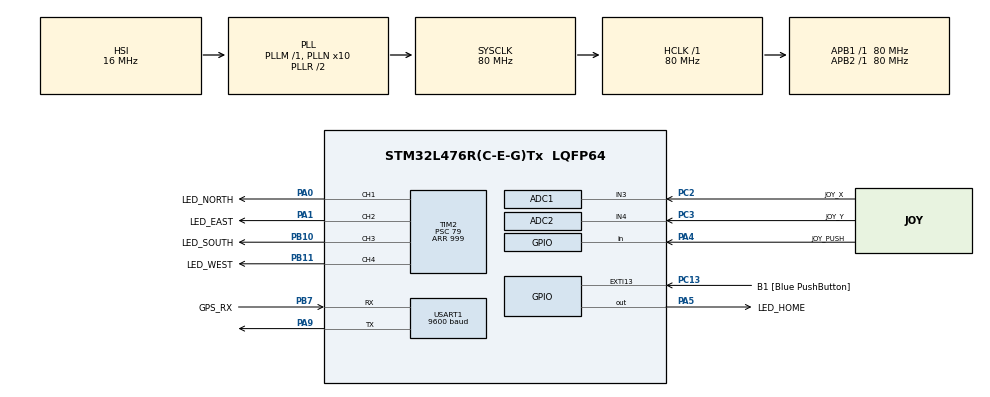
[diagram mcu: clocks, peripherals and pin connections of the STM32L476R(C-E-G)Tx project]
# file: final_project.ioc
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ADC1.Channel-0\#ChannelRegularConversion=ADC_CHANNEL_3
ADC1.ContinuousConvMode=DISABLE
ADC1.NbrOfConversionFlag=1
ADC1.OffsetNumber-0\#ChannelRegularConversion=ADC_OFFSET_NONE
ADC1.Rank-0\#ChannelRegularConversion=1
ADC1.SamplingTime-0\#ChannelRegularConversion=ADC_SAMPLETIME_2CYCLES_5
ADC1.master=1
ADC2.Channel-0\#ChannelRegularConversion=ADC_CHANNEL_4
ADC2.NbrOfConversionFlag=1
ADC2.OffsetNumber-0\#ChannelRegularConversion=ADC_OFFSET_NONE
ADC2.Rank-0\#ChannelRegularConversion=1
ADC2.SamplingTime-0\#ChannelRegularConversion=ADC_SAMPLETIME_2CYCLES_5
Mcu.Family=STM32L4
Mcu.Name=STM32L476R(C-E-G)Tx
Mcu.Package=LQFP64
NVIC.PriorityGroup=NVIC_PRIORITYGROUP_4
NVIC.USART1_IRQn=true\:0\:0\:false\:false\:true\:true\:true\:true
PA0.GPIO_Label=LED_NORTH
PA0.Signal=S_TIM2_CH1
PA1.GPIO_Label=LED_EAST
PA1.Signal=S_TIM2_CH2
PA13\ (JTMS-SWDIO).GPIO_Label=TMS
PA13\ (JTMS-SWDIO).Mode=Serial_Wire
PA13\ (JTMS-SWDIO).Signal=SYS_JTMS-SWDIO
PA14\ (JTCK-SWCLK).GPIO_Label=TCK
PA14\ (JTCK-SWCLK).Mode=Serial_Wire
PA14\ (JTCK-SWCLK).Signal=SYS_JTCK-SWCLK
PA4.GPIO_Label=JOY_PUSH
PA4.GPIO_PuPd=GPIO_PULLUP
PA4.Signal=GPIO_Input
PA5.GPIO_Label=LED_HOME
PA5.GPIO_ModeDefaultOutputPP=GPIO_MODE_OUTPUT_PP
PA5.GPIO_PuPd=GPIO_NOPULL
PA5.GPIO_Speed=GPIO_SPEED_FREQ_LOW
PA5.Signal=GPIO_Output
PA9.Mode=Asynchronous
PA9.Signal=USART1_TX
PB10.GPIO_Label=LED_SOUTH
PB10.Signal=S_TIM2_CH3
PB11.GPIO_Label=LED_WEST
PB11.Signal=S_TIM2_CH4
PB3\ (JTDO-TRACESWO).GPIO_Label=SWO
PB3\ (JTDO-TRACESWO).Signal=SYS_JTDO-SWO
PB7.GPIO_Label=GPS_RX
PB7.Mode=Asynchronous
PB7.Signal=USART1_RX
PC13.GPIO_Label=B1 [Blue PushButton]
PC13.GPIO_ModeDefaultEXTI=GPIO_MODE_IT_FALLING
PC13.GPIO_PuPd=GPIO_NOPULL
PC13.Signal=GPXTI13
PC14-OSC32_IN\ (PC14).Mode=LSE-External-Oscillator
PC14-OSC32_IN\ (PC14).Signal=RCC_OSC32_IN
PC15-OSC32_OUT\ (PC15).Mode=LSE-External-Oscillator
PC15-OSC32_OUT\ (PC15).Signal=RCC_OSC32_OUT
PC2.GPIO_Label=JOY_X
PC2.Signal=ADCx_IN3
PC3.GPIO_Label=JOY_Y
PC3.Signal=ADCx_IN4
PH0-OSC_IN\ (PH0).Signal=RCC_OSC_IN
PH1-OSC_OUT\ (PH1).Signal=RCC_OSC_OUT
ProjectManager.HeapSize=0x200
ProjectManager.StackSize=0x400
ProjectManager.TargetToolchain=STM32CubeIDE
RCC.ADCFreq_Value=64000000
RCC.AHBFreq_Value=80000000
RCC.APB1Freq_Value=80000000
RCC.APB1TimFreq_Value=80000000
RCC.APB2Freq_Value=80000000
RCC.APB2TimFreq_Value=80000000
RCC.CortexFreq_Value=80000000
RCC.HCLKFreq_Value=80000000
RCC.HSE_VALUE=8000000
RCC.HSI_VALUE=16000000
RCC.MSI_VALUE=4000000
RCC.PLLN=10
RCC.PLLSourceVirtual=RCC_PLLSOURCE_HSI
RCC.PREFETCH_ENABLE=1
RCC.SYSCLKFreq_VALUE=80000000
RCC.SYSCLKSource=RCC_SYSCLKSOURCE_PLLCLK
RCC.USBFreq_Value=64000000
RCC.VCOOutputFreq_Value=160000000
SH.ADCx_IN3.0=ADC1_IN3,IN3-Single-Ended
SH.ADCx_IN4.0=ADC2_IN4,IN4-Single-Ended
SH.S_TIM2_CH1.0=TIM2_CH1,PWM Generation1 CH1
SH.S_TIM2_CH2.0=TIM2_CH2,PWM Generation2 CH2
SH.S_TIM2_CH3.0=TIM2_CH3,PWM Generation3 CH3
SH.S_TIM2_CH4.0=TIM2_CH4,PWM Generation4 CH4
TIM2.AutoReloadPreload=TIM_AUTORELOAD_PRELOAD_DISABLE
TIM2.Channel-PWM\ Generation1\ CH1=TIM_CHANNEL_1
TIM2.Channel-PWM\ Generation2\ CH2=TIM_CHANNEL_2
TIM2.Channel-PWM\ Generation3\ CH3=TIM_CHANNEL_3
TIM2.Channel-PWM\ Generation4\ CH4=TIM_CHANNEL_4
TIM2.Period=999
TIM2.Prescaler=79
USART1.BaudRate=9600
USART1.VirtualMode-Asynchronous=VM_ASYNC
VP_TIM2_VS_ClockSourceINT.Mode=Internal
board=NUCLEO-L476RG

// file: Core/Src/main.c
/* USER CODE BEGIN Header */
/**
  ******************************************************************************
  * @file           : main.c
  * @brief          : Main program body
  ******************************************************************************
  * @attention
  *
  * Copyright (c) 2026 STMicroelectronics.
  * All rights reserved.
  *
  * This software is licensed under terms that can be found in the LICENSE file
  * in the root directory of this software component.
  * If no LICENSE file comes with this software, it is provided AS-IS.
  *
  ******************************************************************************
  */
/* USER CODE END Header */
#include "main.h"
#include <math.h>
#include <stdlib.h>
#include <string.h>

/* USER CODE BEGIN PM */
#define MAX_MESSAGE_SIZE 200 // max size for gpsMessage
/* USER CODE END PM */

ADC_HandleTypeDef hadc1;
ADC_HandleTypeDef hadc2;
TIM_HandleTypeDef htim2;
UART_HandleTypeDef huart1;

/* USER CODE BEGIN PV */
double homeX    = 0.0; // variables for grid system and position tracking
double homeY    = 0.0;
double posXLim = 0.0;
double negXLim = 0.0;
double posYLim = 0.0;
double negYLim = 0.0;
double currX    = 0.0;
double currY    = 0.0;
double rawLat = 0.0;
double rawLon = 0.0;
double finalLat = 0.0;
double finalLon = 0.0;

uint8_t gpsByte; // byte from GPS
uint8_t gpsMessage[MAX_MESSAGE_SIZE] = {0}; // array we will put the gpsBytes into and parse information from
uint8_t gpsBufferPosition = 0;
char gpsX[16] = {0}; // we will parse the latitude and longitude values from gpsMessage and place them into here for further analysis
char gpsY[16] = {0}; // after getting these values, we will convert them to doubles and use them in getGPSX and getGPSY

/* USER CODE END PV */

void SystemClock_Config(void);
void PeriphCommonClock_Config(void);
static void MX_GPIO_Init(void);
static void MX_ADC1_Init(void);
static void MX_TIM2_Init(void);
static void MX_ADC2_Init(void);
static void MX_USART1_UART_Init(void);
/* USER CODE BEGIN PFP */
double GetGPSX(void); // declare our functions
double GetGPSY(void);
void MakeMap(void);
void SetHome(void);
void MoveCharacter(void);
void BlinkLEDs(void);
double NMEAToDecimal(double coordinate);
/* USER CODE END PFP */

int main(void)
{
  HAL_Init();

  SystemClock_Config();
  PeriphCommonClock_Config();
  MX_GPIO_Init();
  MX_ADC1_Init(); // start ADC's
  MX_ADC2_Init();
  MX_TIM2_Init(); // start timer 2
  MX_USART1_UART_Init(); // start USART1
  /* USER CODE BEGIN 2 */
  HAL_TIM_PWM_Start(&htim2, TIM_CHANNEL_1); // timer channels for LEDs
  HAL_TIM_PWM_Start(&htim2, TIM_CHANNEL_2);
  HAL_TIM_PWM_Start(&htim2, TIM_CHANNEL_3);
  HAL_TIM_PWM_Start(&htim2, TIM_CHANNEL_4);
  HAL_TIM_Base_Start_IT(&htim2); // start timer 16
  HAL_UART_Receive_IT(&huart1, &gpsByte, 1); // put byte received from USART2 into "gpsByte"

  /* USER CODE END 2 */

  while (1)
  {
    /* USER CODE BEGIN WHILE */
    if (HAL_GPIO_ReadPin(JOY_PUSH_GPIO_Port, JOY_PUSH_Pin) == 0){ // if joy stick button is pushed, will set new home position
    	SetHome();
    	HAL_Delay(10); // delay so you don't set home multiple times on one push
    }
    MoveCharacter(); // first you move, then the system will tell you your location after your movement
    BlinkLEDs();

    /* USER CODE END WHILE */

  }
}
void SystemClock_Config(void)
{
  RCC_OscInitTypeDef RCC_OscInitStruct = {0};
  RCC_ClkInitTypeDef RCC_ClkInitStruct = {0};

  /** Configure the main internal regulator output voltage
  */
  if (HAL_PWREx_ControlVoltageScaling(PWR_REGULATOR_VOLTAGE_SCALE1) != HAL_OK)
  {
    Error_Handler();
  }

  /** Initializes the RCC Oscillators according to the specified parameters
  * in the RCC_OscInitTypeDef structure.
  */
  RCC_OscInitStruct.OscillatorType = RCC_OSCILLATORTYPE_HSI;
  RCC_OscInitStruct.HSIState = RCC_HSI_ON;
  RCC_OscInitStruct.HSICalibrationValue = RCC_HSICALIBRATION_DEFAULT;
  RCC_OscInitStruct.PLL.PLLState = RCC_PLL_ON;
  RCC_OscInitStruct.PLL.PLLSource = RCC_PLLSOURCE_HSI;
  RCC_OscInitStruct.PLL.PLLM = 1;
  RCC_OscInitStruct.PLL.PLLN = 10;
  RCC_OscInitStruct.PLL.PLLP = RCC_PLLP_DIV7;
  RCC_OscInitStruct.PLL.PLLQ = RCC_PLLQ_DIV2;
  RCC_OscInitStruct.PLL.PLLR = RCC_PLLR_DIV2;
  if (HAL_RCC_OscConfig(&RCC_OscInitStruct) != HAL_OK)
  {
    Error_Handler();
  }

  /** Initializes the CPU, AHB and APB buses clocks
  */
  RCC_ClkInitStruct.ClockType = RCC_CLOCKTYPE_HCLK|RCC_CLOCKTYPE_SYSCLK
                              |RCC_CLOCKTYPE_PCLK1|RCC_CLOCKTYPE_PCLK2;
  RCC_ClkInitStruct.SYSCLKSource = RCC_SYSCLKSOURCE_PLLCLK;
  RCC_ClkInitStruct.AHBCLKDivider = RCC_SYSCLK_DIV1;
  RCC_ClkInitStruct.APB1CLKDivider = RCC_HCLK_DIV1;
  RCC_ClkInitStruct.APB2CLKDivider = RCC_HCLK_DIV1;

  if (HAL_RCC_ClockConfig(&RCC_ClkInitStruct, FLASH_LATENCY_4) != HAL_OK)
  {
    Error_Handler();
  }
}

void PeriphCommonClock_Config(void)
{
  RCC_PeriphCLKInitTypeDef PeriphClkInit = {0};

  /** Initializes the peripherals clock
  */
  PeriphClkInit.PeriphClockSelection = RCC_PERIPHCLK_ADC;
  PeriphClkInit.AdcClockSelection = RCC_ADCCLKSOURCE_PLLSAI1;
  PeriphClkInit.PLLSAI1.PLLSAI1Source = RCC_PLLSOURCE_HSI;
  PeriphClkInit.PLLSAI1.PLLSAI1M = 1;
  PeriphClkInit.PLLSAI1.PLLSAI1N = 8;
  PeriphClkInit.PLLSAI1.PLLSAI1P = RCC_PLLP_DIV7;
  PeriphClkInit.PLLSAI1.PLLSAI1Q = RCC_PLLQ_DIV2;
  PeriphClkInit.PLLSAI1.PLLSAI1R = RCC_PLLR_DIV2;
  PeriphClkInit.PLLSAI1.PLLSAI1ClockOut = RCC_PLLSAI1_ADC1CLK;
  if (HAL_RCCEx_PeriphCLKConfig(&PeriphClkInit) != HAL_OK)
  {
    Error_Handler();
  }
}

static void MX_ADC1_Init(void)
{

  ADC_MultiModeTypeDef multimode = {0};
  ADC_ChannelConfTypeDef sConfig = {0};

  /** Common config
  */
  hadc1.Instance = ADC1;
  hadc1.Init.ClockPrescaler = ADC_CLOCK_ASYNC_DIV1;
  hadc1.Init.Resolution = ADC_RESOLUTION_12B;
  hadc1.Init.DataAlign = ADC_DATAALIGN_RIGHT;
  hadc1.Init.ScanConvMode = ADC_SCAN_DISABLE;
  hadc1.Init.EOCSelection = ADC_EOC_SINGLE_CONV;
  hadc1.Init.LowPowerAutoWait = DISABLE;
  hadc1.Init.ContinuousConvMode = DISABLE;
  hadc1.Init.NbrOfConversion = 1;
  hadc1.Init.DiscontinuousConvMode = DISABLE;
  hadc1.Init.ExternalTrigConv = ADC_SOFTWARE_START;
  hadc1.Init.ExternalTrigConvEdge = ADC_EXTERNALTRIGCONVEDGE_NONE;
  hadc1.Init.DMAContinuousRequests = DISABLE;
  hadc1.Init.Overrun = ADC_OVR_DATA_PRESERVED;
  hadc1.Init.OversamplingMode = DISABLE;
  if (HAL_ADC_Init(&hadc1) != HAL_OK)
  {
    Error_Handler();
  }

  /** Configure the ADC multi-mode
  */
  multimode.Mode = ADC_MODE_INDEPENDENT;
  if (HAL_ADCEx_MultiModeConfigChannel(&hadc1, &multimode) != HAL_OK)
  {
    Error_Handler();
  }

  /** Configure Regular Channel
  */
  sConfig.Channel = ADC_CHANNEL_3;
  sConfig.Rank = ADC_REGULAR_RANK_1;
  sConfig.SamplingTime = ADC_SAMPLETIME_2CYCLES_5;
  sConfig.SingleDiff = ADC_SINGLE_ENDED;
  sConfig.OffsetNumber = ADC_OFFSET_NONE;
  sConfig.Offset = 0;
  if (HAL_ADC_ConfigChannel(&hadc1, &sConfig) != HAL_OK)
  {
    Error_Handler();
  }

}

static void MX_ADC2_Init(void)
{

  ADC_ChannelConfTypeDef sConfig = {0};

  /** Common config
  */
  hadc2.Instance = ADC2;
  hadc2.Init.ClockPrescaler = ADC_CLOCK_ASYNC_DIV1;
  hadc2.Init.Resolution = ADC_RESOLUTION_12B;
  hadc2.Init.DataAlign = ADC_DATAALIGN_RIGHT;
  hadc2.Init.ScanConvMode = ADC_SCAN_DISABLE;
  hadc2.Init.EOCSelection = ADC_EOC_SINGLE_CONV;
  hadc2.Init.LowPowerAutoWait = DISABLE;
  hadc2.Init.ContinuousConvMode = DISABLE;
  hadc2.Init.NbrOfConversion = 1;
  hadc2.Init.DiscontinuousConvMode = DISABLE;
  hadc2.Init.ExternalTrigConv = ADC_SOFTWARE_START;
  hadc2.Init.ExternalTrigConvEdge = ADC_EXTERNALTRIGCONVEDGE_NONE;
  hadc2.Init.DMAContinuousRequests = DISABLE;
  hadc2.Init.Overrun = ADC_OVR_DATA_PRESERVED;
  hadc2.Init.OversamplingMode = DISABLE;
  if (HAL_ADC_Init(&hadc2) != HAL_OK)
  {
    Error_Handler();
  }

  /** Configure Regular Channel
  */
  sConfig.Channel = ADC_CHANNEL_4;
  sConfig.Rank = ADC_REGULAR_RANK_1;
  sConfig.SamplingTime = ADC_SAMPLETIME_2CYCLES_5;
  sConfig.SingleDiff = ADC_SINGLE_ENDED;
  sConfig.OffsetNumber = ADC_OFFSET_NONE;
  sConfig.Offset = 0;
  if (HAL_ADC_ConfigChannel(&hadc2, &sConfig) != HAL_OK)
  {
    Error_Handler();
  }

}

static void MX_TIM2_Init(void)
{

  TIM_ClockConfigTypeDef sClockSourceConfig = {0};
  TIM_MasterConfigTypeDef sMasterConfig = {0};
  TIM_OC_InitTypeDef sConfigOC = {0};

  htim2.Instance = TIM2;
  htim2.Init.Prescaler = 79;
  htim2.Init.CounterMode = TIM_COUNTERMODE_UP;
  htim2.Init.Period = 999;
  htim2.Init.ClockDivision = TIM_CLOCKDIVISION_DIV1;
  htim2.Init.AutoReloadPreload = TIM_AUTORELOAD_PRELOAD_DISABLE;
  if (HAL_TIM_Base_Init(&htim2) != HAL_OK)
  {
    Error_Handler();
  }
  sClockSourceConfig.ClockSource = TIM_CLOCKSOURCE_INTERNAL;
  if (HAL_TIM_ConfigClockSource(&htim2, &sClockSourceConfig) != HAL_OK)
  {
    Error_Handler();
  }
  if (HAL_TIM_PWM_Init(&htim2) != HAL_OK)
  {
    Error_Handler();
  }
  sMasterConfig.MasterOutputTrigger = TIM_TRGO_RESET;
  sMasterConfig.MasterSlaveMode = TIM_MASTERSLAVEMODE_DISABLE;
  if (HAL_TIMEx_MasterConfigSynchronization(&htim2, &sMasterConfig) != HAL_OK)
  {
    Error_Handler();
  }
  sConfigOC.OCMode = TIM_OCMODE_PWM1;
  sConfigOC.Pulse = 0;
  sConfigOC.OCPolarity = TIM_OCPOLARITY_HIGH;
  sConfigOC.OCFastMode = TIM_OCFAST_DISABLE;
  if (HAL_TIM_PWM_ConfigChannel(&htim2, &sConfigOC, TIM_CHANNEL_1) != HAL_OK)
  {
    Error_Handler();
  }
  if (HAL_TIM_PWM_ConfigChannel(&htim2, &sConfigOC, TIM_CHANNEL_2) != HAL_OK)
  {
    Error_Handler();
  }
  if (HAL_TIM_PWM_ConfigChannel(&htim2, &sConfigOC, TIM_CHANNEL_3) != HAL_OK)
  {
    Error_Handler();
  }
  if (HAL_TIM_PWM_ConfigChannel(&htim2, &sConfigOC, TIM_CHANNEL_4) != HAL_OK)
  {
    Error_Handler();
  }
  HAL_TIM_MspPostInit(&htim2);

}

static void MX_USART1_UART_Init(void)
{

  huart1.Instance = USART1;
  huart1.Init.BaudRate = 9600;
  huart1.Init.WordLength = UART_WORDLENGTH_8B;
  huart1.Init.StopBits = UART_STOPBITS_1;
  huart1.Init.Parity = UART_PARITY_NONE;
  huart1.Init.Mode = UART_MODE_TX_RX;
  huart1.Init.HwFlowCtl = UART_HWCONTROL_NONE;
  huart1.Init.OverSampling = UART_OVERSAMPLING_16;
  huart1.Init.OneBitSampling = UART_ONE_BIT_SAMPLE_DISABLE;
  huart1.AdvancedInit.AdvFeatureInit = UART_ADVFEATURE_NO_INIT;
  if (HAL_UART_Init(&huart1) != HAL_OK)
  {
    Error_Handler();
  }

}

static void MX_GPIO_Init(void)
{
  GPIO_InitTypeDef GPIO_InitStruct = {0};

  /* GPIO Ports Clock Enable */
  __HAL_RCC_GPIOC_CLK_ENABLE();
  __HAL_RCC_GPIOH_CLK_ENABLE();
  __HAL_RCC_GPIOA_CLK_ENABLE();
  __HAL_RCC_GPIOB_CLK_ENABLE();

  /*Configure GPIO pin Output Level */
  HAL_GPIO_WritePin(LED_HOME_GPIO_Port, LED_HOME_Pin, GPIO_PIN_RESET);

  /*Configure GPIO pin : B1_Pin */
  GPIO_InitStruct.Pin = B1_Pin;
  GPIO_InitStruct.Mode = GPIO_MODE_IT_FALLING;
  GPIO_InitStruct.Pull = GPIO_NOPULL;
  HAL_GPIO_Init(B1_GPIO_Port, &GPIO_InitStruct);

  /*Configure GPIO pin : JOY_PUSH_Pin */
  GPIO_InitStruct.Pin = JOY_PUSH_Pin;
  GPIO_InitStruct.Mode = GPIO_MODE_INPUT;
  GPIO_InitStruct.Pull = GPIO_PULLUP;
  HAL_GPIO_Init(JOY_PUSH_GPIO_Port, &GPIO_InitStruct);

  /*Configure GPIO pin : LED_HOME_Pin */
  GPIO_InitStruct.Pin = LED_HOME_Pin;
  GPIO_InitStruct.Mode = GPIO_MODE_OUTPUT_PP;
  GPIO_InitStruct.Pull = GPIO_NOPULL;
  GPIO_InitStruct.Speed = GPIO_SPEED_FREQ_LOW;
  HAL_GPIO_Init(LED_HOME_GPIO_Port, &GPIO_InitStruct);

}

/* USER CODE BEGIN 4 */

// This function runs automatically every time one byte is received through UART1
void HAL_UART_RxCpltCallback(UART_HandleTypeDef *huart)
{
    if (huart == &huart1) // if the interrupt came through UART1, continue
    {
        gpsMessage[gpsBufferPosition] = gpsByte;   // add to gpsMessage arrray
        gpsBufferPosition++;					   // increment buffer position to prepare for next byte
        HAL_UART_Receive_IT(&huart1, &gpsByte, 1); // restart the interrupt reception so the next byte can be received
    }
}

double GetGPSX(void){
	int commaCount = 0;           // Parse data from string received from GPS based on commas to find latitude and longitude
	int buffer = 0;     // use this buffer to keep track the position of what we're reading from gpsMessage
	gpsX[0] = '\0'; // clear array from previous usage

	// we will go through the whole gpsMessage until we find 2 commas (which is when latitude begins) and a 'N' or 'S' character
	for (int i = 0; i < gpsBufferPosition; i++){
		char currentChar = gpsMessage[i];

		if (currentChar == 'N' || currentChar == 'S'){ // latitude message is finished, return results
			gpsX[buffer] = currentChar;// finish the message
			buffer++;
			gpsX[buffer] = '\0'; // end message
			rawLat = strtod(gpsX, NULL); // convert string to number
			finalLat = NMEAToDecimal(rawLat); // convert NMEA degrees/minutes format to decimal degrees

			if (gpsX[buffer - 1] == 'S') // southern latitudes changes to negative
				{
					finalLat = -finalLat;
				}
			return finalLat;
		}
		if (commaCount == 2){ // after 2 commas, latitude begins
			gpsX[buffer] = currentChar;
			buffer++;
		}

		if (currentChar == ','){ // increment commaCount if comma is found
			commaCount++;
		}
	}
	return 1.0; // return a basic number if gpsMessage is not filled with proper data. This is here because the module broke
}
//
// see GetGPSX for more detailed comments on this function. The same rules apply. The only difference is this is longitude and looks for 4 commans, not 2
//      VVVVV VVVVV VVVVV VVVVV
double GetGPSY(void){
	int commaCount = 0;           // Parse data from string received from GPS based on commas to find latitude and longitude
	int buffer = 0;
	gpsY[0] = '\0'; // clear array
	for (int i = 0; i < gpsBufferPosition; i++){
		char currentChar = gpsMessage[i];
		if (currentChar == 'W' || currentChar == 'E'){ // longitude message is finished, return results
			gpsY[buffer] = currentChar;
			buffer++;
			gpsY[buffer] = '\0';// finish the message
			rawLon = strtod(gpsY, NULL);
			finalLon = NMEAToDecimal(rawLon);
			if (gpsY[buffer - 1] == 'W')
			{
			    finalLon = -finalLon;
			}
			return finalLon;
		}
		if (commaCount == 4){ // after 4 commas, longitude begins
			gpsY[buffer] = currentChar;
			buffer++;
		}

		if (currentChar == ','){ // increment commaCount if comma is found
			commaCount++;
		}
	}
	return 2.0;// return a basic number if gpsMessage is not filled with proper data. This is here because the module broke
}

// Convert NMEA format to decimal degrees. Example: 4325.5000 becomes 43.425 degrees
double NMEAToDecimal(double coordinate)
{
    int degrees = (int)(coordinate / 100.0); // Make first 2 digits the degrees
    double minutes = coordinate - (degrees * 100.0); // make the minutes the remaining decimal portion
    return degrees + (minutes / 60.0); // convert minutes to degrees and combine them
}

// make map boundaries for character to move in. 100 is just an arbitrary value that works well with the speed of our characters movement
void MakeMap(void){
	posXLim = homeX + 100;
	negXLim = homeX - 100;
	posYLim = homeY + 100;
	negYLim = homeY - 100;
}

// set your waypoint of which you will be shown where to return to
void SetHome(void){
	homeX = GetGPSX(); // get home coords
	homeY = GetGPSY();
	currX = homeX;     // set characters starting point at home
	currY = homeY;
	MakeMap();
	// reset buffer position and arrays after gpsMessage is compiled and read
	gpsBufferPosition = 0;
	memset(gpsX, 0, sizeof(gpsX));
	memset(gpsY, 0, sizeof(gpsY));
	memset(gpsMessage, 0, sizeof(gpsMessage));
}

void MoveCharacter(void)
{
    const double ySTEP_SIZE = 0.001; // maximum amount the character can move in one function call
    const double xSTEP_SIZE = 0.001;
    const double CENTER = 1700;      // defined center ADC value of joystick x and y. used to avoid deadzone

    HAL_ADC_Start(&hadc1);           // read the joystick's x-axis voltage using ADC1
    HAL_ADC_PollForConversion(&hadc1, HAL_MAX_DELAY);
    uint16_t xjoyStep = HAL_ADC_GetValue(&hadc1);

    HAL_ADC_Start(&hadc2);           // read the joystick's y-axis voltage using ADC2
    HAL_ADC_PollForConversion(&hadc2, HAL_MAX_DELAY);
    uint16_t yjoyStep = HAL_ADC_GetValue(&hadc2);

    float xMovePercent = 0; // used to find percentage of maximum movement in each direction
    float yMovePercent = 0;

// THE FOLLOWING COMMENTS ARE VALID WHEN THE JOYSTICK WIRES ARE TO THE LEFT

    if (xjoyStep < 1500 || xjoyStep > 1900){ // only move horizontally when joystick is out of deadzone
    	if (xjoyStep < 1500){
    		xMovePercent = -(CENTER - xjoyStep)/1700;// MOVE WEST
    	}
    	if (xjoyStep > 1900){
    		xMovePercent = (xjoyStep - CENTER)/1700;// MOVE EAST
		}
    }

    if (yjoyStep < 1500 || yjoyStep > 2000){ // only move vertically when joystick is out of deadzone
		if (yjoyStep > 2000){
			yMovePercent = (CENTER - yjoyStep)/1700;// MOVE SOUTH
		}
		if (yjoyStep < 1500){
			yMovePercent = -(yjoyStep - CENTER)/1700; // MOVE NORTH
		}
	}
    // calculate the next new character position
    float nextX = currX + (xMovePercent * xSTEP_SIZE);
    float nextY = currY + (yMovePercent * ySTEP_SIZE);
    // check if the next position is out of bounds or not. If not out of bounds, will update current position to new position.
    if (nextX < posXLim && nextX > negXLim)
    {
    	currX = nextX;
    }

    if (nextY < posYLim && nextY > negYLim)
	{
		currY = nextY;
	}
    //HAL_Delay(20);
}

void BlinkLEDs(void)
{
	// TIM2 counts to 1000 so 999 is about 100% of duty cycle
    const int PWM_PERIOD = 999;
    // turn off all compass LEDs before finding new brightness levels
    TIM2->CCR1 = 0;
    TIM2->CCR2 = 0;
    TIM2->CCR3 = 0;
    TIM2->CCR4 = 0;

    // If character is home, turn on on-board LED
    if ((currY > homeY - 5) && (currY < homeY + 5) &&
        (currX > homeX - 5) && (currX < homeX + 5))
    {
        HAL_GPIO_WritePin(GPIOA, GPIO_PIN_5, GPIO_PIN_SET);
        return;
    }
    // if not home, turn off on-board LED
    HAL_GPIO_WritePin(GPIOA, GPIO_PIN_5, GPIO_PIN_RESET);

    // find distance from home
    double xError = currX - homeX;
    double yError = currY - homeY;

    // convert distance into a duty cycle of 1 and 0
    float dutyCycleX = fabs(xError) / 100.0f;
    float dutyCycleY = fabs(yError) / 100.0f;

    // limit them to a maximum of 1
    if (dutyCycleX > 1.0f) dutyCycleX = 1.0f;
    if (dutyCycleY > 1.0f) dutyCycleY = 1.0f;

    // find the brightness levels of the horizontal and vertical LEDs
    int resetValueX = (int)(dutyCycleX * PWM_PERIOD);
    int resetValueY = (int)(dutyCycleY * PWM_PERIOD);

    // if character is not within 5 units of home, turn on LEDs to the brightness level just found based on direction
    if (currY > homeY + 5)
    {
        TIM2->CCR3 = resetValueY; // SOUTH
    }
    if (currY < homeY - 5)
    {
        TIM2->CCR1 = resetValueY; // NORTH
    }
    if (currX > homeX + 5)
    {
        TIM2->CCR4 = resetValueX; // WEST
    }
    if (currX < homeX - 5)
    {
        TIM2->CCR2 = resetValueX; // EAST
    }
}
/* USER CODE END 4 */

void Error_Handler(void)
{
  __disable_irq();
  while (1)
  {
  }
}
